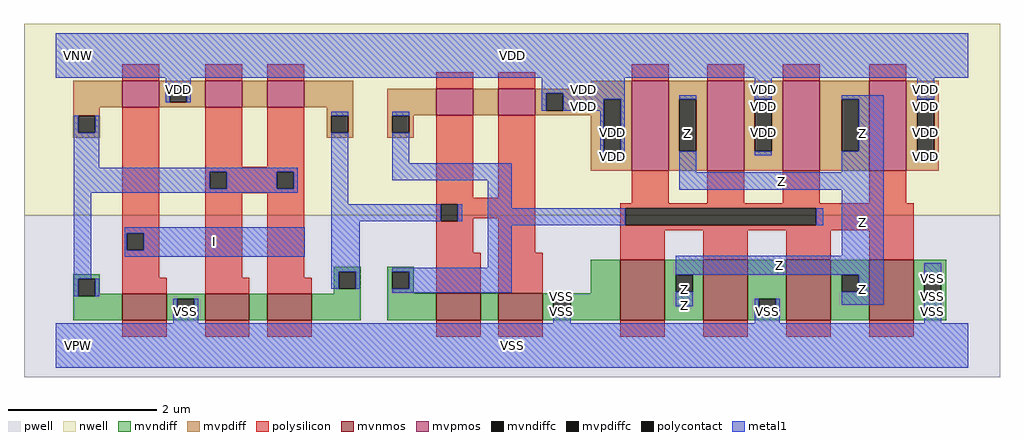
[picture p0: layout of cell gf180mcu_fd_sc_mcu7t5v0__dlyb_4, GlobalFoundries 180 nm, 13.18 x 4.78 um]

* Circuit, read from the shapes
.subckt gf180mcu_fd_sc_mcu7t5v0__dlyb_4 I Z VDD VNW VPW VSS
XM1 VSS I n1 VPW nfet_06v0 w=0.36u l=0.6u
XM2 n2 n1 VSS VPW nfet_06v0 w=0.36u l=0.6u
XM3 n3 n1 n2 VPW nfet_06v0 w=0.36u l=0.6u
XM4 n4 n3 n5 VPW nfet_06v0 w=0.365u l=0.6u
XM5 VSS n3 n4 VPW nfet_06v0 w=0.365u l=0.6u
XM6 Z n5 VSS VPW nfet_06v0 w=0.82u l=0.6u m=4
XM7 VDD I n1 VNW pfet_06v0 w=0.36u l=0.5u
XM8 n6 n1 VDD VNW pfet_06v0 w=0.36u l=0.5u
XM9 n3 n1 n6 VNW pfet_06v0 w=0.36u l=0.5u
XM10 n7 n3 n5 VNW pfet_06v0 w=0.36u l=0.5u
XM11 VDD n3 n7 VNW pfet_06v0 w=0.36u l=0.5u
XM12 Z n5 VDD VNW pfet_06v0 w=1.22u l=0.5u m=4
.ends

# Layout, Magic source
magic
tech gf180mcuD
magscale 1 10
<< nwell >>
rect -86 352 2550 870
<< pwell >>
rect -86 -86 2550 352
<< mvnmos >>
rect 179 68 299 140
rect 403 68 523 140
rect 571 68 691 140
rect 1027 68 1147 141
rect 1195 68 1315 141
rect 1525 68 1645 232
rect 1749 68 1869 232
rect 1973 68 2093 232
rect 2197 68 2317 232
<< mvpmos >>
rect 179 644 279 716
rect 403 644 503 716
rect 571 644 671 716
rect 1027 622 1127 694
rect 1195 622 1295 694
rect 1555 472 1655 716
rect 1759 472 1859 716
rect 1963 472 2063 716
rect 2197 472 2297 716
<< mvndiff >>
rect 47 180 119 193
rect 47 134 60 180
rect 106 140 119 180
rect 751 200 823 213
rect 751 154 764 200
rect 810 154 823 200
rect 751 140 823 154
rect 106 134 179 140
rect 47 68 179 134
rect 299 127 403 140
rect 299 81 328 127
rect 374 81 403 127
rect 299 68 403 81
rect 523 68 571 140
rect 691 68 823 140
rect 895 200 967 213
rect 895 154 908 200
rect 954 154 967 200
rect 895 141 967 154
rect 1445 141 1525 232
rect 895 68 1027 141
rect 1147 68 1195 141
rect 1315 127 1525 141
rect 1315 81 1344 127
rect 1390 81 1525 127
rect 1315 68 1525 81
rect 1645 192 1749 232
rect 1645 146 1674 192
rect 1720 146 1749 192
rect 1645 68 1749 146
rect 1869 127 1973 232
rect 1869 81 1898 127
rect 1944 81 1973 127
rect 1869 68 1973 81
rect 2093 192 2197 232
rect 2093 146 2122 192
rect 2168 146 2197 192
rect 2093 68 2197 146
rect 2317 184 2405 232
rect 2317 138 2346 184
rect 2392 138 2405 184
rect 2317 68 2405 138
<< mvpdiff >>
rect 47 644 179 716
rect 279 703 403 716
rect 279 657 308 703
rect 354 657 403 703
rect 279 644 403 657
rect 503 644 571 716
rect 671 644 803 716
rect 1445 694 1555 716
rect 47 621 119 644
rect 47 575 60 621
rect 106 575 119 621
rect 47 562 119 575
rect 731 621 803 644
rect 731 575 744 621
rect 790 575 803 621
rect 731 562 803 575
rect 895 622 1027 694
rect 1127 622 1195 694
rect 1295 681 1555 694
rect 1295 635 1324 681
rect 1370 665 1555 681
rect 1370 635 1480 665
rect 1295 622 1480 635
rect 895 621 967 622
rect 895 575 908 621
rect 954 575 967 621
rect 895 562 967 575
rect 1445 525 1480 622
rect 1526 525 1555 665
rect 1445 472 1555 525
rect 1655 665 1759 716
rect 1655 525 1684 665
rect 1730 525 1759 665
rect 1655 472 1759 525
rect 1859 665 1963 716
rect 1859 525 1888 665
rect 1934 525 1963 665
rect 1859 472 1963 525
rect 2063 665 2197 716
rect 2063 525 2122 665
rect 2168 525 2197 665
rect 2063 472 2197 525
rect 2297 665 2385 716
rect 2297 525 2326 665
rect 2372 525 2385 665
rect 2297 472 2385 525
<< mvndiffc >>
rect 60 134 106 180
rect 764 154 810 200
rect 328 81 374 127
rect 908 154 954 200
rect 1344 81 1390 127
rect 1674 146 1720 192
rect 1898 81 1944 127
rect 2122 146 2168 192
rect 2346 138 2392 184
<< mvpdiffc >>
rect 308 657 354 703
rect 60 575 106 621
rect 744 575 790 621
rect 1324 635 1370 681
rect 908 575 954 621
rect 1480 525 1526 665
rect 1684 525 1730 665
rect 1888 525 1934 665
rect 2122 525 2168 665
rect 2326 525 2372 665
<< polysilicon >>
rect 179 716 279 760
rect 403 716 503 760
rect 571 716 671 760
rect 1027 694 1127 738
rect 1195 694 1295 738
rect 1555 716 1655 760
rect 1759 716 1859 760
rect 1963 716 2063 760
rect 2197 716 2297 760
rect 179 303 279 644
rect 179 257 192 303
rect 238 257 279 303
rect 179 184 279 257
rect 403 483 503 644
rect 571 483 671 644
rect 403 470 671 483
rect 403 424 416 470
rect 462 424 596 470
rect 642 424 671 470
rect 403 411 671 424
rect 403 184 503 411
rect 571 184 671 411
rect 1027 399 1127 622
rect 1195 399 1295 622
rect 1027 382 1295 399
rect 1555 384 1655 472
rect 1759 384 1859 472
rect 1963 384 2063 472
rect 2197 384 2297 472
rect 1027 336 1040 382
rect 1086 344 1295 382
rect 1086 336 1127 344
rect 1027 251 1127 336
rect 1195 251 1295 344
rect 1525 371 2317 384
rect 1525 325 1538 371
rect 2054 325 2317 371
rect 1525 312 2317 325
rect 179 140 299 184
rect 403 140 523 184
rect 571 140 691 184
rect 1027 141 1147 251
rect 1195 141 1315 251
rect 1525 232 1645 312
rect 1749 232 1869 312
rect 1973 232 2093 312
rect 2197 232 2317 312
rect 179 24 299 68
rect 403 24 523 68
rect 571 24 691 68
rect 1027 24 1147 68
rect 1195 24 1315 68
rect 1525 24 1645 68
rect 1749 24 1869 68
rect 1973 24 2093 68
rect 2197 24 2317 68
<< polycontact >>
rect 192 257 238 303
rect 416 424 462 470
rect 596 424 642 470
rect 1040 336 1086 382
rect 1538 325 2054 371
<< metal1 >>
rect 0 724 2464 844
rect 297 703 365 724
rect 297 657 308 703
rect 354 657 365 703
rect 1313 681 1537 724
rect 1313 635 1324 681
rect 1370 665 1537 681
rect 1370 635 1480 665
rect 744 621 790 632
rect 49 575 60 621
rect 106 575 117 621
rect 49 481 117 575
rect 49 470 653 481
rect 49 424 416 470
rect 462 424 596 470
rect 642 424 653 470
rect 49 413 653 424
rect 49 180 95 413
rect 744 382 790 575
rect 908 621 954 632
rect 908 493 954 575
rect 1471 525 1480 635
rect 1526 525 1537 665
rect 1471 506 1537 525
rect 1684 665 1730 676
rect 908 447 1231 493
rect 744 336 1040 382
rect 1086 336 1097 382
rect 1167 371 1231 447
rect 1684 468 1730 525
rect 1888 665 1934 724
rect 1888 514 1934 525
rect 2122 665 2236 676
rect 2168 525 2236 665
rect 2122 468 2236 525
rect 2326 665 2372 724
rect 2326 506 2372 525
rect 1684 421 2236 468
rect 186 303 672 320
rect 186 257 192 303
rect 238 257 672 303
rect 186 240 672 257
rect 744 200 821 336
rect 1167 325 1538 371
rect 2054 325 2072 371
rect 1167 211 1231 325
rect 2122 243 2236 421
rect 49 134 60 180
rect 106 134 117 180
rect 744 154 764 200
rect 810 154 821 200
rect 908 200 1231 211
rect 954 154 1231 200
rect 908 143 1231 154
rect 1674 192 2236 243
rect 1344 127 1390 138
rect 317 81 328 127
rect 374 81 385 127
rect 317 60 385 81
rect 1674 106 1720 146
rect 2168 146 2236 192
rect 1344 60 1390 81
rect 1887 81 1898 127
rect 1944 81 1955 127
rect 2122 110 2236 146
rect 2346 184 2392 223
rect 1887 60 1955 81
rect 2346 60 2392 138
rect 0 -60 2464 60
<< labels >>
flabel metal1 s 2346 138 2392 223 0 FreeSans 400 0 0 0 VSS
port 6 nsew ground bidirectional abutment
flabel metal1 s 2122 468 2236 676 0 FreeSans 400 0 0 0 Z
port 2 nsew default output
flabel metal1 s 186 240 672 320 0 FreeSans 400 0 0 0 I
port 1 nsew default input
flabel metal1 s 0 724 2464 844 0 FreeSans 400 0 0 0 VDD
port 3 nsew power bidirectional abutment
flabel nwell s 10 734 110 834 0 FreeSans 400 0 0 0 VNW
port 4 nsew power bidirectional
flabel pwell s 10 -50 110 50 0 FreeSans 400 0 0 0 VPW
port 5 nsew ground bidirectional
rlabel metal1 s 1684 468 1730 676 1 Z
port 2 nsew default output
rlabel metal1 s 1684 421 2236 468 1 Z
port 2 nsew default output
rlabel metal1 s 2122 243 2236 421 1 Z
port 2 nsew default output
rlabel metal1 s 1674 192 2236 243 1 Z
port 2 nsew default output
rlabel metal1 s 2122 110 2236 192 1 Z
port 2 nsew default output
rlabel metal1 s 1674 110 1720 192 1 Z
port 2 nsew default output
rlabel metal1 s 1674 106 1720 110 1 Z
port 2 nsew default output
rlabel metal1 s 2326 657 2372 724 1 VDD
port 3 nsew power bidirectional abutment
rlabel metal1 s 1888 657 1934 724 1 VDD
port 3 nsew power bidirectional abutment
rlabel metal1 s 1313 657 1537 724 1 VDD
port 3 nsew power bidirectional abutment
rlabel metal1 s 297 657 365 724 1 VDD
port 3 nsew power bidirectional abutment
rlabel metal1 s 2326 635 2372 657 1 VDD
port 3 nsew power bidirectional abutment
rlabel metal1 s 1888 635 1934 657 1 VDD
port 3 nsew power bidirectional abutment
rlabel metal1 s 1313 635 1537 657 1 VDD
port 3 nsew power bidirectional abutment
rlabel metal1 s 2326 514 2372 635 1 VDD
port 3 nsew power bidirectional abutment
rlabel metal1 s 1888 514 1934 635 1 VDD
port 3 nsew power bidirectional abutment
rlabel metal1 s 1471 514 1537 635 1 VDD
port 3 nsew power bidirectional abutment
rlabel metal1 s 2326 506 2372 514 1 VDD
port 3 nsew power bidirectional abutment
rlabel metal1 s 1471 506 1537 514 1 VDD
port 3 nsew power bidirectional abutment
rlabel metal1 s 2346 127 2392 138 1 VSS
port 6 nsew ground bidirectional abutment
rlabel metal1 s 1344 127 1390 138 1 VSS
port 6 nsew ground bidirectional abutment
rlabel metal1 s 2346 60 2392 127 1 VSS
port 6 nsew ground bidirectional abutment
rlabel metal1 s 1887 60 1955 127 1 VSS
port 6 nsew ground bidirectional abutment
rlabel metal1 s 1344 60 1390 127 1 VSS
port 6 nsew ground bidirectional abutment
rlabel metal1 s 317 60 385 127 1 VSS
port 6 nsew ground bidirectional abutment
rlabel metal1 s 0 -60 2464 60 1 VSS
port 6 nsew ground bidirectional abutment
<< properties >>
string FIXED_BBOX 0 0 2464 784
string GDS_END 1104100
string GDS_FILE $PDKPATH/libs.ref/gf180mcu_fd_sc_mcu7t5v0/gds/gf180mcu_fd_sc_mcu7t5v0.gds
string GDS_START 1098704
string LEFclass core
string LEFsite GF018hv5v_mcu_sc7
string LEFsymmetry X Y
<< end >>
